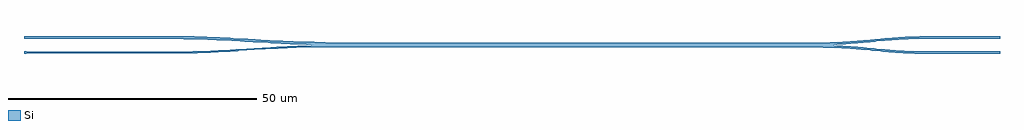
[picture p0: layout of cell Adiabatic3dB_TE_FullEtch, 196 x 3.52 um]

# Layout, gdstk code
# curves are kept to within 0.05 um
import gdstk
lib = gdstk.Library(unit=1e-6, precision=1e-09)
def P(c, l, *ps):  # polygons
    for p in ps: c.add(gdstk.Polygon(p, *l))
Si = (1, 0)

adiabatic3db_te_fulletch = lib.new_cell('Adiabatic3dB_TE_FullEtch')
P(adiabatic3db_te_fulletch, Si, [(195.5,1.25),(180.5,1.275),(180.5,1.725),(195.5,1.75),(196,1.75),(196,1.25)],
  [(15.5,1.225),(0.5,1.25),(0,1.25),(0,1.75),(0.5,1.75),(15.5,1.775)],
  [(57.092,0.09),(51.657,0.289),(39.908,0.957),(34.518,1.171),(15.5,1.225),(15.5,1.775),(31.755,1.77),(37.555,1.617),(51.388,0.853),(57.092,0.639)],
  [(60.185,0.05),(57.092,0.09),(57.092,0.639),(161.125,0.503),(165.974,0.719),(175.99,1.573),(180.5,1.725),(180.5,1.275),(176.018,1.124),(166.007,0.27),(161.13,0.053)],
  [(195.5,-1.75),(180.5,-1.725),(180.5,-1.275),(195.5,-1.25),(196,-1.25),(196,-1.75)],
  [(0,-1.75),(0,-1.25),(0.5,-1.25),(15.5,-1.325),(15.5,-1.675),(0.5,-1.75)],
  [(15.5,-1.675),(15.5,-1.325),(30.814,-1.325),(34.521,-1.266),(39.912,-1.034),(52.851,-0.249),(58.934,-0.059),(160.71,-0.05),(160.71,-0.5),(58.938,-0.409),(52.273,-0.628),(40.227,-1.367),(34.531,-1.616),(30.815,-1.675)],
  [(180.29,-1.725),(175.99,-1.573),(165.38,-0.677),(160.71,-0.5),(160.71,-0.05),(165.41,-0.228),(176.018,-1.124),(180.5,-1.275),(180.5,-1.725)])

lib.write_gds('Adiabatic3dB_TE_FullEtch.gds')
